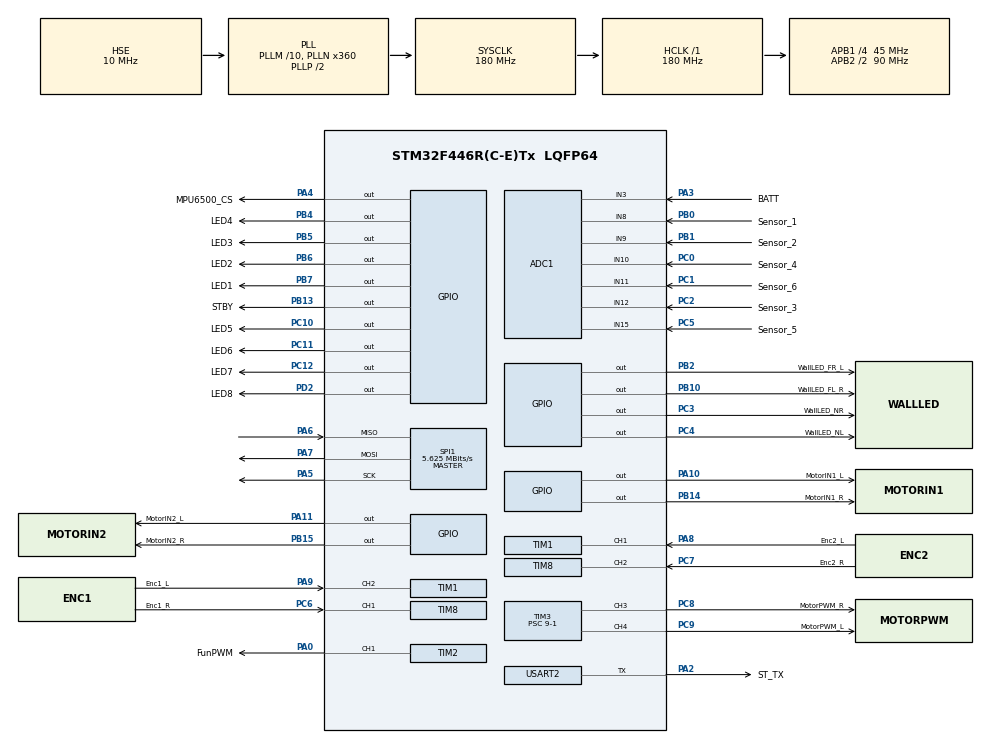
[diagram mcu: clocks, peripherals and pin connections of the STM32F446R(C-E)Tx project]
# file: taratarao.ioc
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ADC1.Channel-0\#ChannelRegularConversion=ADC_CHANNEL_8
ADC1.Channel-1\#ChannelRegularConversion=ADC_CHANNEL_9
ADC1.Channel-2\#ChannelRegularConversion=ADC_CHANNEL_12
ADC1.Channel-3\#ChannelRegularConversion=ADC_CHANNEL_10
ADC1.Channel-4\#ChannelRegularConversion=ADC_CHANNEL_15
ADC1.Channel-5\#ChannelRegularConversion=ADC_CHANNEL_11
ADC1.Channel-6\#ChannelRegularConversion=ADC_CHANNEL_3
ADC1.ClockPrescaler=ADC_CLOCK_SYNC_PCLK_DIV8
ADC1.ContinuousConvMode=ENABLE
ADC1.DMAContinuousRequests=ENABLE
ADC1.NbrOfConversion=7
ADC1.NbrOfConversionFlag=1
ADC1.Rank-0\#ChannelRegularConversion=1
ADC1.Rank-1\#ChannelRegularConversion=2
ADC1.Rank-2\#ChannelRegularConversion=3
ADC1.Rank-3\#ChannelRegularConversion=4
ADC1.Rank-4\#ChannelRegularConversion=5
ADC1.Rank-5\#ChannelRegularConversion=6
ADC1.Rank-6\#ChannelRegularConversion=7
ADC1.SamplingTime-0\#ChannelRegularConversion=ADC_SAMPLETIME_15CYCLES
ADC1.SamplingTime-1\#ChannelRegularConversion=ADC_SAMPLETIME_15CYCLES
ADC1.SamplingTime-2\#ChannelRegularConversion=ADC_SAMPLETIME_15CYCLES
ADC1.SamplingTime-3\#ChannelRegularConversion=ADC_SAMPLETIME_15CYCLES
ADC1.SamplingTime-4\#ChannelRegularConversion=ADC_SAMPLETIME_15CYCLES
ADC1.SamplingTime-5\#ChannelRegularConversion=ADC_SAMPLETIME_15CYCLES
ADC1.SamplingTime-6\#ChannelRegularConversion=ADC_SAMPLETIME_15CYCLES
ADC1.ScanConvMode=ENABLE
ADC1.master=1
Dma.ADC1.0.Direction=DMA_PERIPH_TO_MEMORY
Dma.ADC1.0.FIFOMode=DMA_FIFOMODE_DISABLE
Dma.ADC1.0.Instance=DMA2_Stream0
Dma.ADC1.0.MemDataAlignment=DMA_MDATAALIGN_HALFWORD
Dma.ADC1.0.MemInc=DMA_MINC_ENABLE
Dma.ADC1.0.Mode=DMA_NORMAL
Dma.ADC1.0.PeriphDataAlignment=DMA_PDATAALIGN_HALFWORD
Dma.ADC1.0.PeriphInc=DMA_PINC_DISABLE
Dma.ADC1.0.Priority=DMA_PRIORITY_LOW
Dma.Request0=ADC1
Mcu.Family=STM32F4
Mcu.Name=STM32F446R(C-E)Tx
Mcu.Package=LQFP64
NVIC.DMA2_Stream0_IRQn=true\:0\:0\:false\:false\:true\:false\:true\:true
NVIC.PriorityGroup=NVIC_PRIORITYGROUP_4
NVIC.TIM3_IRQn=true\:0\:0\:false\:false\:true\:true\:true\:true
NVIC.TIM6_DAC_IRQn=true\:0\:0\:false\:false\:true\:true\:true\:true
PA0-WKUP.GPIO_Label=FunPWM
PA0-WKUP.Signal=S_TIM2_CH1_ETR
PA1.GPIO_Label=Buzzer
PA1.Signal=S_TIM5_CH2
PA10.GPIO_Label=MotorIN1_L
PA10.Signal=GPIO_Output
PA11.GPIO_Label=MotorIN2_L
PA11.Signal=GPIO_Output
PA13.Signal=SYS_JTMS-SWDIO
PA14.Signal=SYS_JTCK-SWCLK
PA2.GPIO_Label=ST_TX
PA2.Mode=Half_duplex(single_wire_mode)
PA2.Signal=USART2_TX
PA3.GPIO_Label=BATT
PA3.Signal=ADCx_IN3
PA4.GPIO_Label=MPU6500_CS
PA4.Signal=GPIO_Output
PA5.Mode=Full_Duplex_Master
PA5.Signal=SPI1_SCK
PA6.Mode=Full_Duplex_Master
PA6.Signal=SPI1_MISO
PA7.Mode=Full_Duplex_Master
PA7.Signal=SPI1_MOSI
PA8.GPIO_Label=Enc2_L
PA8.Signal=S_TIM1_CH1
PA9.GPIO_Label=Enc1_L
PA9.Signal=S_TIM1_CH2
PB0.GPIO_Label=Sensor_1
PB0.Signal=ADCx_IN8
PB1.GPIO_Label=Sensor_2
PB1.Signal=ADCx_IN9
PB10.GPIO_Label=WallLED_FL_R
PB10.Signal=GPIO_Output
PB13.GPIO_Label=STBY
PB13.Signal=GPIO_Output
PB14.GPIO_Label=MotorIN1_R
PB14.Signal=GPIO_Output
PB15.GPIO_Label=MotorIN2_R
PB15.Signal=GPIO_Output
PB2.GPIO_Label=WallLED_FR_L
PB2.Signal=GPIO_Output
PB4.GPIO_Label=LED4
PB4.Signal=GPIO_Output
PB5.GPIO_Label=LED3
PB5.Signal=GPIO_Output
PB6.GPIO_Label=LED2
PB6.Signal=GPIO_Output
PB7.GPIO_Label=LED1
PB7.Signal=GPIO_Output
PC0.GPIO_Label=Sensor_4
PC0.Signal=ADCx_IN10
PC1.GPIO_Label=Sensor_6
PC1.Signal=ADCx_IN11
PC10.GPIO_Label=LED5
PC10.Signal=GPIO_Output
PC11.GPIO_Label=LED6
PC11.Signal=GPIO_Output
PC12.GPIO_Label=LED7
PC12.Signal=GPIO_Output
PC2.GPIO_Label=Sensor_3
PC2.Signal=ADCx_IN12
PC3.GPIO_Label=WallLED_NR
PC3.Signal=GPIO_Output
PC4.GPIO_Label=WallLED_NL
PC4.Signal=GPIO_Output
PC5.GPIO_Label=Sensor_5
PC5.Signal=ADCx_IN15
PC6.GPIO_Label=Enc1_R
PC6.Signal=S_TIM8_CH1
PC7.GPIO_Label=Enc2_R
PC7.Signal=S_TIM8_CH2
PC8.GPIO_Label=MotorPWM_R
PC8.Signal=S_TIM3_CH3
PC9.GPIO_Label=MotorPWM_L
PC9.Signal=S_TIM3_CH4
PD2.GPIO_Label=LED8
PD2.Signal=GPIO_Output
PH0-OSC_IN.Mode=HSE-External-Oscillator
PH0-OSC_IN.Signal=RCC_OSC_IN
PH1-OSC_OUT.Mode=HSE-External-Oscillator
PH1-OSC_OUT.Signal=RCC_OSC_OUT
ProjectManager.HeapSize=0x200
ProjectManager.StackSize=0x400
ProjectManager.TargetToolchain=STM32CubeIDE
RCC.AHBFreq_Value=180000000
RCC.APB1CLKDivider=RCC_HCLK_DIV4
RCC.APB1Freq_Value=45000000
RCC.APB1TimFreq_Value=90000000
RCC.APB2CLKDivider=RCC_HCLK_DIV2
RCC.APB2Freq_Value=90000000
RCC.APB2TimFreq_Value=180000000
RCC.CortexFreq_Value=180000000
RCC.HCLKFreq_Value=180000000
RCC.HSE_VALUE=10000000
RCC.PLLM=10
RCC.PLLN=360
RCC.PLLSourceVirtual=RCC_PLLSOURCE_HSE
RCC.SYSCLKFreq_VALUE=180000000
RCC.SYSCLKSource=RCC_SYSCLKSOURCE_PLLCLK
RCC.USBFreq_Value=180000000
RCC.VCOOutputFreq_Value=360000000
SH.ADCx_IN10.0=ADC1_IN10,IN10
SH.ADCx_IN11.0=ADC1_IN11,IN11
SH.ADCx_IN12.0=ADC1_IN12,IN12
SH.ADCx_IN15.0=ADC1_IN15,IN15
SH.ADCx_IN3.0=ADC1_IN3,IN3
SH.ADCx_IN8.0=ADC1_IN8,IN8
SH.ADCx_IN9.0=ADC1_IN9,IN9
SH.S_TIM1_CH1.0=TIM1_CH1,Encoder_Interface
SH.S_TIM1_CH2.0=TIM1_CH2,Encoder_Interface
SH.S_TIM2_CH1_ETR.0=TIM2_CH1,PWM Generation1 CH1
SH.S_TIM3_CH3.0=TIM3_CH3,PWM Generation3 CH3
SH.S_TIM3_CH4.0=TIM3_CH4,PWM Generation4 CH4
SH.S_TIM5_CH2.0=TIM5_CH2
SH.S_TIM8_CH1.0=TIM8_CH1,Encoder_Interface
SH.S_TIM8_CH2.0=TIM8_CH2,Encoder_Interface
SPI1.BaudRatePrescaler=SPI_BAUDRATEPRESCALER_16
SPI1.CLKPhase=SPI_PHASE_1EDGE
SPI1.CLKPolarity=SPI_POLARITY_LOW
SPI1.CalculateBaudRate=5.625 MBits/s
SPI1.Direction=SPI_DIRECTION_2LINES
SPI1.Mode=SPI_MODE_MASTER
SPI1.VirtualType=VM_MASTER
TIM1.EncoderMode=TIM_ENCODERMODE_TI12
TIM1.Period=65535
TIM1.Prescaler=0
TIM2.Channel-PWM\ Generation1\ CH1=TIM_CHANNEL_1
TIM2.Period=100-1
TIM2.Prescaler=9-1
TIM3.Channel-PWM\ Generation3\ CH3=TIM_CHANNEL_3
TIM3.Channel-PWM\ Generation4\ CH4=TIM_CHANNEL_4
TIM3.Period=100-1
TIM3.Prescaler=9-1
TIM6.AutoReloadPreload=TIM_AUTORELOAD_PRELOAD_ENABLE
TIM6.Period=1000-1
TIM6.Prescaler=90-1
TIM8.EncoderMode=TIM_ENCODERMODE_TI12
TIM8.Period=65535
TIM8.Prescaler=0
USART2.Mode=MODE_TX
USART2.VirtualMode=VM_ASYNC
VP_TIM6_VS_ClockSourceINT.Mode=Enable_Timer
board=custom

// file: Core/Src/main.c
/* USER CODE BEGIN Header */
/**
 ******************************************************************************
 * @file           : main.c
 * @brief          : Main program body
 ******************************************************************************
 * @attention
 *
 * Copyright (c) 2025 STMicroelectronics.
 * All rights reserved.
 *
 * This software is licensed under terms that can be found in the LICENSE file
 * in the root directory of this software component.
 * If no LICENSE file comes with this software, it is provided AS-IS.
 *
 ******************************************************************************
 */
/* USER CODE END Header */
#include "main.h"
#include "adc.h"
#include "dma.h"
#include "spi.h"
#include "tim.h"
#include "usart.h"
#include "gpio.h"

/* USER CODE BEGIN Includes */
#include "stdio.h"
#include "PL_timer.h"
#include "PL_sensor.h"
#include "PL_ENC.h"
#include "PL_gyro.h"

#include "Mode.h"
#include "motor_seigyo.h"
#include "Wall_Control.h"
#include "Move_sinsura.h"
#include "move_preset.h"
#include "Wall_record.h"
#include "Set_goal.h"
#include "Adatimethod.h"
#include "Hosu_make.h"
#include "Saitan.h"

#include "PL_flash.h"
#include "Record_something.h"
#include "test_something.h"
#include "G_hensu.h"
/* USER CODE END Includes */

void SystemClock_Config(void);

int main(void)
{

  /* MCU Configuration--------------------------------------------------------*/

  /* Reset of all peripherals, Initializes the Flash interface and the Systick. */
  HAL_Init();

  /* Configure the system clock */
  SystemClock_Config();

  /* Initialize all configured peripherals */
  MX_GPIO_Init();
  MX_DMA_Init();
  MX_TIM6_Init();
  MX_USART2_UART_Init();
  MX_ADC1_Init();
  MX_TIM3_Init();
  MX_TIM1_Init();
  MX_TIM8_Init();
  MX_SPI1_Init();
  MX_TIM2_Init();
  /* USER CODE BEGIN 2 */
	pl_timer_init();
	mpu6500_init();
	ENC_Init();
	HAL_TIM_PWM_Start(&htim2, TIM_CHANNEL_1);
	HAL_TIM_PWM_Start(&htim3, TIM_CHANNEL_3);
	HAL_TIM_PWM_Start(&htim3, TIM_CHANNEL_4);
	stop_kyuin();
// STBYを有効化
	HAL_GPIO_WritePin(STBY_GPIO_Port, STBY_Pin, GPIO_PIN_SET);
  /* USER CODE END 2 */

  /* Infinite loop */
  /* USER CODE BEGIN WHILE */
	while (1) {
		main_Mode();

		if(G_mode==1){
////test gpio
//			tes_gpio();
////test USART1
//			tes_usart1();
////test USART2
//			tes_usart2();
////test timer
//			irumi_LED();
////test jyro
//			check_jyro();
//			check_jyro2();
//			tes_jyro();
////test speaker
//		tes_speaker();
			start_kyuin(20.0);
			wait_ms(1000);
			start_kyuin(25.0);
			wait_ms(300);
			start_kyuin(30.0);
			wait_ms(300);
			start_kyuin(35.0);
			wait_ms(1000);
			kasoku(0.0, 1500.0, 25000, hazimari, 4, 0);
			gensoku_stop(35000);
			wait_ms(1000);
			DC_motor_stop();
			stop_kyuin();
		}
		if(G_mode==2){
////test Sensor
//			set_CENTOR_sensor();
//			sakaku_daikei(0.0, 1500.0, 0.0, 10000, 2700);
			chenk_BATT();
		}
		if(G_mode==3){
//			G_LED_mode=2;
//			G_state=1;
//			Save_wall();
//			Load_wall();
			check_sensor();
			CENTER_L=3;
			printf("CENTER_L%d\n\r",CENTER_L);
			Load_sensor();
			printf("CENTER_L%d\n\r",CENTER_L);
		}
		if(G_mode==4){
			tes_sensor();
//			cary_fkou();
		}
		if(G_mode==5){
//			set_sensor();
//			tes_sensor();
////test sankakuG_V
//			tes_sankaku();
//			tes_sankaku2();
////test motor&Enc
//			tes_motor_Enc();
////check Enc
//			check_Enc();
////test Enc Gyro sankaku mot
//			start_kyuin(20);
//			tes_tyokusin();
//			tes_kaiten();
//////センサー調整用，スラロームの前壁，壁キレ，中央にいる時のセンサ値測定
////			tes_judgewall();
////			mpu6500_do_off();
////			set_CENTOR_sensor();
////			sakaku_daikei(0.0, 500.0, 0.0, 10000.0, hazimari+180.0);
////			DC_motor_stop();
//
//			G_subP_wall=0.0;
//			tes_sendiff();
			Load_sensor();
			cary_sen();
			Save_sensor();
//			irumi_LED();
//////センサーの壁キレより細かく
////			tes_sendiff2();
//			G_mode_flag=0;
		}
		if(G_mode==6){
			Load_sensor();
//			tes_tyokusin();
//			tes_kyuintyoku();
//			tes_kaiten();
////test Sura
//			tes_sura(9);
//			tes_sura(1);
//			tes_sura(2);
//			tes_sura(3);
//			tes_sura(4);
//			tes_sura(5);
//			tes_sura(6);
//			tes_sura(7);
//			tes_sura(8);
//			tes_sura(10);
			tes_sura(11);
		}
		if(G_mode==7){
//daiku
//			Set_Wall2();
//			setVmax_Vcom(2800.0, 1000.0, 1200.0, 500.0, 12500.0, 10000.0);
//			display_wallhosu();
//			daiku_hosumake(0);
//			set_hosu_dai();
//			set_goal_dai();
			Load_wall();
			display_wallhosu();
//			display_goalpass();
		}
		if(G_mode==8){
//adati
//			adati_test();
//			move_kabeawase();
//			while(1){
//				wait_ms(100);
//			}
			sakaku_daikei(0.0, 500.0, 0.0, 10000.0, hazimari+9, 5, 5);
			DC_motor_stop();
			int aaaa=g_sensor[0][0]+g_sensor[3][0];
			irumi_LED();
			while(1){
				if((g_sensor[0][0]+g_sensor[3][0]>SURAKABE_F)){
					irumi_LED();
					printf("%d\n\r",aaaa);
				}
			}
		}
		if(G_mode==9){
			Load_wall();
			Load_sensor();
			Save_Wall();
			setVmax_Vcom(4000.0, 1500.0, 1500.0, 1300.0, 26500.0, 15000.0);
			G_saitan_mode=3;

			G_look_position_y=0;
			G_look_position_x=0;
			G_direction=1080;
			trim_map_saitan();
			reset_goalpass();
			set_goalpass_07();
			pl_hosu_set();
			pl_hosu_make();

			make_pass_saitan();
			display_pass();
			pass_assyuku_na();
			display_pass();
			display_wallhosu();
		}
		if(G_mode==10){
			Set_Wall3();
			Save_wall();
		}
		if(G_mode==11){
			flashtest2();
		}
		if(G_mode==12){
			irumi_LED();
			G_goal_x=8;
			G_goal_y=7;
			Set_Wall2();
			Save_Wall();

			trim_map_saitan();
			pl_hosu_set();
			pl_hosu_make();
			make_pass_saitan();
			display_wallhosu();
			pass_assyuku_na();
			display_pass();

			Load_Wall();
		}
		if(G_mode==13){
			tes_sandai(-1500.0, -40000.0, -45.0, 10);
		}
		if(G_mode==16){
			ResetFlashWall();

//			while(1){
//				if(g_sensor[0][0]>=300&&g_sensor[3][0]>=300){
//					irumi_LED();
//					setVmax_Vcom(1500.0, 1000.0, 500.0, 15000.0, 10000.0);	//直進
//					G_saitan_mode=0;										//ターン
////					G_LED_mode=2;
//					reset_goalpass();
//					set_goalpass_07();
////					sura_tyousei_flag=1;
//					Adatimethod(1);
//					Save_Wall();
//					break;
//				}
//			}
		}

		if(G_mode==17){				//既知区間無し，両面探索
			while(1){
				if(g_sensor[0][0]>=300&&g_sensor[3][0]>=300){
					irumi_LED();
					setVmax_Vcom(1800.0, 500.0, 500.0, 500.0, 8000.0, 8000.0);	//直進
					G_saitan_mode=0;										//ターン
//					G_LED_mode=2;
					reset_goalpass();
					set_goalpass_07();
					Adatimethod();
					break;
				}
			}
		}
		if(G_mode==18){		//多分既知区間加速
			while(1){
				if(g_sensor[0][0]>=300&&g_sensor[3][0]>=300){
					irumi_LED();
					setVmax_Vcom(1800.0, 500.0, 500.0, 500.0, 8000.0, 8000.0);	//直進
					G_saitan_mode=0;										//ターン
//					G_LED_mode=2;
					set_CENTOR_sensor();
					reset_goalpass();
					set_goalpass_07();
					Adatimethod_kiti();
					break;
				}
			}
//			while(1){
//				if(g_sensor[0][0]>=300&&g_sensor[3][0]>=300){
//					irumi_LED();
//					setVmax_Vcom(1500.0, 1000.0, 1200.0, 500.0, 15000.0, 10000.0);	//直進
//					G_saitan_mode=0;										//ターン
////					G_LED_mode=2;
//					reset_goalpass();
//					set_goalpass_07();
//					Adatimethod_kiti();
//					break;
//				}
//			}
		}
		if(G_mode==19){												//両面ダイクストラ_kiti
			while(1){
				if(g_sensor[0][0]>=300&&g_sensor[3][0]>=300){
					irumi_LED();
					setVmax_Vcom(2500.0, 1000.0, 1200.0, 500.0, 12500.0, 10000.0);	//直進
					G_saitan_mode=0;										//ターン
//					G_LED_mode=2;
					reset_goalpass();
					set_goalpass_07();
					Adatimethod_daikiti();
					break;
				}
			}
		}
//		if(G_mode==20){						//小回りオンリー最短
//			while(1){
//				if(g_sensor[0][0]>=300&&g_sensor[3][0]>=300){
//					irumi_LED();
//					mpu6500_do_off();
//					Save_Wall();
//					reset_goalpass();
//					set_goalpass_07();
//					setVmax_Vcom(2800.0, 1000.0, 1200.0 ,500.0, 12500.0, 10000.0);
//
//					G_saitan_mode=0;
//					G_look_position_y=0;
//					G_look_position_x=0;
//					G_direction=1080;
//					trim_map_saitan();
//					pl_hosu_set();
//					pl_hosu_make();
//					make_pass_saitan();
//					move_sinsaitan();
//
//					Load_Wall();
//					break;
//				}
//			}
//		}
//
//		if(G_mode==21){						//大廻90，180
//			while(1){
//				if(g_sensor[0][0]>=300&&g_sensor[3][0]>=300){
//					irumi_LED();
//					mpu6500_do_off();
//					Save_Wall();
//					setVmax_Vcom(2800.0, 1000.0, 500.0, 12500.0, 10000.0);
//					G_saitan_mode=0;
//
//					G_look_position_y=0;
//					G_look_position_x=0;
//					G_direction=1080;
//					trim_map_saitan();
//					daiku_hosumake(0);
//					set_hosu_dai();
//					reset_goalpass();
//					set_goalpass_07();
////					display_wallhosu();
//					make_pass_saitan();
//					pass_assyuku();
//					move_sinsaitan();
//
//					Load_Wall();
//					break;
//				}
//			}
//		}

		if(G_mode==20){					//吸引90，180だけ
			while(1){
				if(g_sensor[0][0]>=300&&g_sensor[3][0]>=300){
					irumi_LED();
					Load_wall();
					Load_sensor();
					Save_Wall();
					setVmax_Vcom(4000.0, 1500.0, 1500.0, 1200.0, 26500.0, 15000.0);
					G_saitan_mode=3;

					G_look_position_y=0;
					G_look_position_x=0;
					G_direction=1080;
					trim_map_saitan();
					reset_goalpass();
					set_goalpass_07();
					pl_hosu_set();
					pl_hosu_make();

					make_pass_saitan();
					pass_assyuku();

					mpu6500_do_off();
					start_kyuin(20.0);
					wait_ms(700);
					start_kyuin(25.0);
					wait_ms(300);
					start_kyuin(30.0);
					wait_ms(300);
					start_kyuin(35.0);
					wait_ms(1300);
					move_sinsaitan();
					stop_kyuin();
					Load_Wall();
					break;
				}
			}
		}
		if(G_mode==21){
			while(1){
				if(g_sensor[0][0]>=300&&g_sensor[3][0]>=300){
					irumi_LED();
					Load_wall();
					Load_sensor();
					Save_Wall();
					setVmax_Vcom(4000.0, 1700.0, 1700.0, 1700.0, 32500.0, 15000.0);
					G_saitan_mode=4;

					G_look_position_y=0;
					G_look_position_x=0;
					G_direction=1080;
					trim_map_saitan();
					reset_goalpass();
					set_goalpass_07();
					pl_hosu_set();
					pl_hosu_make();
					make_pass_saitan();
					pass_assyuku();

					mpu6500_do_off();
					start_kyuin(20.0);
					wait_ms(1500);
					start_kyuin(25.0);
					wait_ms(300);
					start_kyuin(30.0);
					wait_ms(300);
					start_kyuin(35.0);
					wait_ms(1000);
					move_sinsaitan();
					stop_kyuin();
					Load_Wall();
					break;
				}
			}
		}
		if(G_mode==22){						//最短吸引小回り
			while(1){
				if(g_sensor[0][0]>=300&&g_sensor[3][0]>=300){
					irumi_LED();
					Load_wall();
					Load_sensor();
					Save_Wall();
					setVmax_Vcom(4000.0, 1500.0, 1500.0, 1500.0, 26500.0, 15000.0);
					G_saitan_mode=3;

					G_look_position_y=0;
					G_look_position_x=0;
					G_direction=1080;
					trim_map_saitan();
					reset_goalpass();
					set_goalpass_07();
					pl_hosu_set();
					pl_hosu_make();
					make_pass_saitan();
					pass_assyuku();
					mpu6500_do_off();
					start_kyuin(20.0);
					wait_ms(1500);
					start_kyuin(25.0);
					wait_ms(500);
					start_kyuin(30.0);
					wait_ms(500);
					start_kyuin(35.0);
					wait_ms(1000);
					move_sinsaitan();
					stop_kyuin();
					Load_Wall();
					break;
				}
			}
		}
		if(G_mode==23){						//最短吸引ななめ
			while(1){
				if(g_sensor[0][0]>=300&&g_sensor[3][0]>=300){
					irumi_LED();
					Load_wall();
					Load_sensor();
					Save_Wall();
					setVmax_Vcom(4000.0, 1500.0, 1500.0, 1300.0, 26500.0, 15000.0);
					G_saitan_mode=3;

					G_look_position_y=0;
					G_look_position_x=0;
					G_direction=1080;
					trim_map_saitan();
					reset_goalpass();
					set_goalpass_07();
					pl_hosu_set();
					pl_hosu_make();

					make_pass_saitan();
					pass_assyuku_na();

					mpu6500_do_off();
					start_kyuin(20.0);
					wait_ms(700);
					start_kyuin(25.0);
					wait_ms(300);
					start_kyuin(30.0);
					wait_ms(300);
					start_kyuin(35.0);
					wait_ms(1300);
					move_sinsaitan();
					stop_kyuin();
					Load_Wall();
					break;
				}
			}
		}
		if(G_mode==21){
//			while(1){
//				if(g_sensor[0][0]>=300&&g_sensor[3][0]>=300){
//					irumi_LED();
//					Load_wallsen();
//					Save_Wall();
//					setVmax_Vcom(4000.0, 1700.0, 2000.0, 850.0, 30000.0, 35000.0);
//					G_saitan_mode=1;
//
//					G_look_position_y=0;
//					G_look_position_x=0;
//					G_direction=1080;
//					trim_map_saitan();
//					reset_goalpass();
//					set_goalpass_07();
//					pl_hosu_set();
//					pl_hosu_make();
//					make_pass_saitan();
//					pass_assyuku_na();
//					mpu6500_do_off();
//					start_kyuin(20.0);
//					wait_ms(1500);
//					start_kyuin(25.0);
//					wait_ms(500);
//					start_kyuin(30.0);
//					wait_ms(1000);
//					move_sinsaitan2();
//					stop_kyuin();
//					Load_Wall();
//					break;
//				}
//			}
		}

		if(G_mode==23){
//			while(1){
//				if(g_sensor[0][0]>=300&&g_sensor[3][0]>=300){
//					irumi_LED();
//					mpu6500_do_off();
//					Save_Wall();
//					setVmax_Vcom(3000.0, 1000.0, 850.0, 15000.0, 15000.0);
//					G_saitan_mode=1;
//
//					G_look_position_y=0;
//					G_look_position_x=0;
//					G_direction=1080;
//					trim_map_saitan();
//					daiku_hosumake(0);
//					set_hosu_dai();
//					reset_goalpass();
//					set_goalpass_07();
//					make_pass_saitan();
////					pass_assyuku_na();
//					pass_assyuku();
//					move_sinsaitan();
//
//					Load_Wall();
//					break;
//				}
//			}
		}
//		if(G_mode==24){						//非吸引斜め
//			irumi_LED();
//			setVmax_Vcom(1500.0, 1000.0, 500.0, 15000.0, 8000.0);	//直進
//			G_saitan_mode=0;										//ターン
////			G_LED_mode=2;
//			reset_goalpass();
//			set_goalpass_07();
//			Adatimethod_daikiti();
//			Save_Wall();
//
//			mpu6500_do_off();
//			reset_goalpass();
//			set_goalpass_07();
//			G_goal_x=G_goalpass_x[0];
//			G_goal_y=G_goalpass_y[0];
//			setVmax_Vcom(2800.0, 1000.0, 500.0, 15000.0, 8000.0);
//
//			G_look_position_y=0;
//			G_look_position_x=0;
//			G_direction=1080;
//			trim_map_saitan();
//			daiku_hosumake();
//			set_hosu_dai();
//			make_pass_saitan();
//			pass_assyuku();
//			move_sinsaitan();
//			Load_Wall();
//			G_mode_flag=0;
//		}
		if(G_mode==24){
//			while(1){
//				if(g_sensor[0][0]>=300&&g_sensor[3][0]>=300){
//					irumi_LED();
//					mpu6500_do_off();
//					Save_Wall();
//					setVmax_Vcom(2800.0, 1000.0, 500.0, 15000.0, 10000.0);
//					G_saitan_mode=0;
//
//					G_look_position_y=0;
//					G_look_position_x=0;
//					G_direction=1080;
//					trim_map_saitan();
//					reset_goalpass();
//					set_goalpass_07();
//					pl_hosu_set();
//					pl_hosu_make();
//					make_pass_saitan();
//					pass_assyuku();
//					move_sinsaitan();
//
//					Load_Wall();
//					break;
//				}
//			}
		}
		if(G_mode==25){
//			while(1){
//				if(g_sensor[0][0]>=300&&g_sensor[3][0]>=300){
//					irumi_LED();
//					mpu6500_do_off();
//					Save_Wall();
//					setVmax_Vcom(2800.0, 1000.0, 500.0, 15000.0, 10000.0);
//					G_saitan_mode=0;
//
//					G_look_position_y=0;
//					G_look_position_x=0;
//					G_direction=1080;
//					trim_map_saitan();
//					reset_goalpass();
//					set_goalpass_07();
//					pl_hosu_set();
//					pl_hosu_make();
//					make_pass_saitan();
//					pass_assyuku();
//					move_sinsaitan();
//
//					Load_Wall();
//					break;
//				}
//			}
		}
		if(G_mode==26){
//			while(1){
//				if(g_sensor[0][0]>=300&&g_sensor[3][0]>=300){
//					irumi_LED();
//					mpu6500_do_off();
//					Save_Wall();
//					setVmax_Vcom(2800.0, 1000.0, 850.0, 15000.0, 10000.0);
//					G_saitan_mode=1;
//
//					G_look_position_y=0;
//					G_look_position_x=0;
//					G_direction=1080;
//					trim_map_saitan();
//					reset_goalpass();
//					set_goalpass_07();
//					pl_hosu_set();
//					pl_hosu_make();
//					make_pass_saitan();
//					pass_assyuku();
//					move_sinsaitan();
//
//					Load_Wall();
//					break;
//				}
//			}
		}
		if(G_mode==27){
//			while(1){
//				if(g_sensor[0][0]>=300&&g_sensor[3][0]>=300){
//					irumi_LED();
//					mpu6500_do_off();
//					Save_Wall();
//					setVmax_Vcom(3000.0, 1000.0, 850.0, 15000.0, 15000.0);
//					G_saitan_mode=1;
//
//					G_look_position_y=0;
//					G_look_position_x=0;
//					G_direction=1080;
//					trim_map_saitan();
//					reset_goalpass();
//					set_goalpass_07();
//					pl_hosu_set();
//					pl_hosu_make();
//					make_pass_saitan();
//					pass_assyuku();
//					move_sinsaitan();
//					Load_Wall();
//					break;
//				}
//			}
		}
    /* USER CODE END WHILE */

  }
}

void SystemClock_Config(void)
{
  RCC_OscInitTypeDef RCC_OscInitStruct = {0};
  RCC_ClkInitTypeDef RCC_ClkInitStruct = {0};

  /** Configure the main internal regulator output voltage
  */
  __HAL_RCC_PWR_CLK_ENABLE();
  __HAL_PWR_VOLTAGESCALING_CONFIG(PWR_REGULATOR_VOLTAGE_SCALE1);

  /** Initializes the RCC Oscillators according to the specified parameters
  * in the RCC_OscInitTypeDef structure.
  */
  RCC_OscInitStruct.OscillatorType = RCC_OSCILLATORTYPE_HSE;
  RCC_OscInitStruct.HSEState = RCC_HSE_ON;
  RCC_OscInitStruct.PLL.PLLState = RCC_PLL_ON;
  RCC_OscInitStruct.PLL.PLLSource = RCC_PLLSOURCE_HSE;
  RCC_OscInitStruct.PLL.PLLM = 10;
  RCC_OscInitStruct.PLL.PLLN = 360;
  RCC_OscInitStruct.PLL.PLLP = RCC_PLLP_DIV2;
  RCC_OscInitStruct.PLL.PLLQ = 2;
  RCC_OscInitStruct.PLL.PLLR = 2;
  if (HAL_RCC_OscConfig(&RCC_OscInitStruct) != HAL_OK)
  {
    Error_Handler();
  }

  /** Activate the Over-Drive mode
  */
  if (HAL_PWREx_EnableOverDrive() != HAL_OK)
  {
    Error_Handler();
  }

  /** Initializes the CPU, AHB and APB buses clocks
  */
  RCC_ClkInitStruct.ClockType = RCC_CLOCKTYPE_HCLK|RCC_CLOCKTYPE_SYSCLK
                              |RCC_CLOCKTYPE_PCLK1|RCC_CLOCKTYPE_PCLK2;
  RCC_ClkInitStruct.SYSCLKSource = RCC_SYSCLKSOURCE_PLLCLK;
  RCC_ClkInitStruct.AHBCLKDivider = RCC_SYSCLK_DIV1;
  RCC_ClkInitStruct.APB1CLKDivider = RCC_HCLK_DIV4;
  RCC_ClkInitStruct.APB2CLKDivider = RCC_HCLK_DIV2;

  if (HAL_RCC_ClockConfig(&RCC_ClkInitStruct, FLASH_LATENCY_5) != HAL_OK)
  {
    Error_Handler();
  }
}

void Error_Handler(void)
{
  __disable_irq();
  while (1)
  {
  }
}
